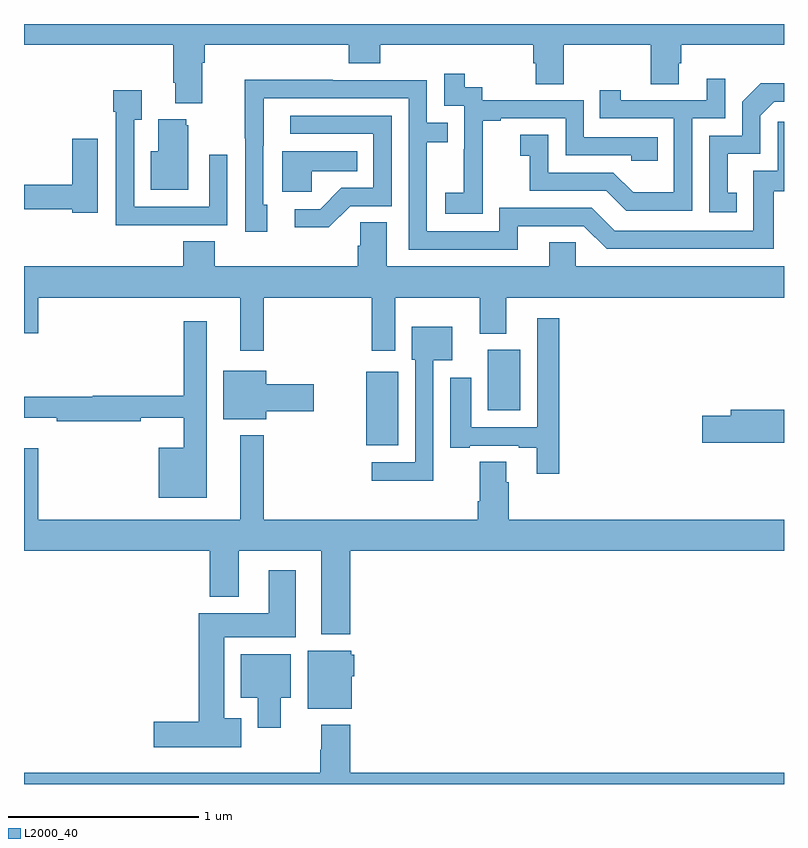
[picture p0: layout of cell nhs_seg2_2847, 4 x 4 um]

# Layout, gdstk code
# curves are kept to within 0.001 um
import gdstk
lib = gdstk.Library(unit=1e-6, precision=1e-09)
def R(c, l, rs):  # rectangles x0, y0, x1, y1
    for r in rs: c.add(gdstk.rectangle(r[:2], r[2:], *l))
def P(c, l, *ps):  # polygons
    for p in ps: c.add(gdstk.Polygon(p, *l))
L2000_40 = (2000, 40)

nhs_seg2_2847 = lib.new_cell('nhs_seg2_2847')
R(nhs_seg2_2847, L2000_40, [(262.802,589.583,262.969,589.969), (263.441,589.766,263.611,590.086)])
P(nhs_seg2_2847, L2000_40, [(261.937,591.596),(261.95,591.596),(261.95,591.692),(262.709,591.692),(262.709,591.593),(262.874,591.593),(262.874,591.692),(263.681,591.692),(263.681,591.594),(263.693,591.594),(263.693,591.484),(263.841,591.484),(263.841,591.692),(264.298,591.692),(264.298,591.484),(264.445,591.484),(264.445,591.594),(264.458,591.594),(264.458,591.692),(265,591.692),(265,591.8),(261,591.8),(261,591.692),(261.785,591.692),(261.785,591.49),(261.797,591.49),(261.797,591.383),(261.937,591.383)],
  [(263.415,591.007),(263.414,591.007),(263.414,591.291),(263.509,591.291),(263.509,591.303),(263.85,591.303),(263.85,591.108),(264.195,591.108),(264.195,591.081),(264.335,591.081),(264.335,591.204),(263.946,591.204),(263.946,591.399),(263.412,591.399),(263.412,591.468),(263.32,591.468),(263.32,591.538),(263.211,591.538),(263.211,591.369),(263.316,591.369),(263.316,591.14),(263.315,591.14),(263.315,590.911),(263.217,590.911),(263.217,590.801),(263.415,590.801)],
  [(264.516,591.303),(264.69,591.303),(264.69,591.511),(264.593,591.511),(264.593,591.399),(264.142,591.399),(264.142,591.451),(264.031,591.451),(264.031,591.303),(264.42,591.303),(264.42,590.914),(264.206,590.914),(264.102,591.018),(263.76,591.018),(263.76,591.217),(263.613,591.217),(263.613,591.107),(263.662,591.107),(263.662,590.922),(264.065,590.922),(264.17,590.817),(264.516,590.817)],
  [(263.599,590.736),(263.946,590.736),(264.066,590.616),(264.946,590.616),(264.946,590.919),(265,590.919),(265,591.286),(264.966,591.286),(264.966,591.027),(264.837,591.027),(264.837,590.712),(264.108,590.712),(263.988,590.832),(263.502,590.832),(263.502,590.709),(263.121,590.709),(263.121,591.178),(263.231,591.178),(263.231,591.279),(263.121,591.279),(263.121,591.504),(262.625,591.504),(262.625,591.506),(262.162,591.506),(262.162,591.199),(262.164,591.199),(262.164,590.706),(262.279,590.706),(262.279,590.85),(262.26,590.85),(262.261,591.408),(263.025,591.408),(263.025,590.613),(263.599,590.613)],
  [(264.752,590.913),(264.703,590.913),(264.703,591.117),(264.876,591.117),(264.876,591.318),(264.948,591.39),(265,591.39),(265,591.488),(264.878,591.488),(264.78,591.39),(264.78,591.213),(264.606,591.213),(264.606,590.808),(264.752,590.808)],
  [(261.755,590.742),(262.071,590.742),(262.071,591.112),(261.975,591.112),(261.975,590.838),(261.579,590.838),(261.579,591.295),(261.619,591.295),(261.619,591.451),(261.471,591.451),(261.471,591.338),(261.483,591.338),(261.483,590.741),(261.755,590.741)],
  [(262.716,590.841),(262.935,590.841),(262.935,591.318),(262.401,591.318),(262.401,591.222),(262.839,591.222),(262.839,590.937),(262.67,590.937),(262.559,590.826),(262.425,590.826),(262.425,590.729),(262.603,590.729)],
  [(261.865,591.267),(261.854,591.267),(261.854,591.298),(261.707,591.298),(261.707,591.13),(261.668,591.13),(261.668,590.927),(261.865,590.927)],
  [(261.388,591.196),(261.254,591.196),(261.254,590.954),(261,590.954),(261,590.826),(261.254,590.826),(261.254,590.807),(261.388,590.807)],
  [(262.515,591.026),(262.754,591.026),(262.754,591.13),(262.358,591.13),(262.358,590.918),(262.515,590.918)],
  [(262.261,590.36),(262.829,590.36),(262.829,590.079),(262.954,590.079),(262.954,590.36),(263.399,590.36),(263.399,590.171),(263.539,590.171),(263.539,590.36),(265,590.36),(265,590.524),(263.904,590.524),(263.904,590.651),(263.765,590.651),(263.765,590.524),(262.909,590.524),(262.909,590.756),(262.77,590.756),(262.77,590.633),(262.757,590.633),(262.757,590.524),(262.004,590.524),(262.004,590.657),(261.839,590.657),(261.839,590.524),(261,590.524),(261,590.172),(261.076,590.172),(261.076,590.36),(262.139,590.36),(262.139,590.079),(262.261,590.079)],
  [(263.816,590.251),(263.7,590.251),(263.7,589.677),(263.353,589.677),(263.353,589.939),(263.243,589.939),(263.243,589.569),(263.347,589.569),(263.347,589.581),(263.603,589.581),(263.603,589.569),(263.699,589.569),(263.699,589.434),(263.816,589.434)],
  [(261.961,590.236),(261.84,590.236),(261.84,589.844),(261.361,589.844),(261.361,589.837),(261,589.837),(261,589.727),(261.172,589.727),(261.172,589.708),(261.614,589.708),(261.614,589.727),(261.84,589.727),(261.84,589.57),(261.71,589.57),(261.71,589.307),(261.961,589.307)],
  [(263.154,590.03),(263.254,590.03),(263.254,590.206),(263.042,590.206),(263.042,590.034),(263.058,590.034),(263.058,589.494),(262.83,589.494),(262.83,589.397),(263.154,589.397)],
  [(262.276,589.763),(262.525,589.763),(262.525,589.905),(262.276,589.905),(262.276,589.975),(262.049,589.975),(262.049,589.721),(262.276,589.721)],
  [(265,589.769),(264.719,589.769),(264.719,589.739),(264.57,589.739),(264.57,589.597),(265,589.597)],
  [(262.718,589.028),(265,589.028),(265,589.192),(263.552,589.192),(263.552,589.388),(263.539,589.388),(263.539,589.496),(263.399,589.496),(263.399,589.288),(263.387,589.288),(263.387,589.192),(262.261,589.192),(262.261,589.636),(262.139,589.636),(262.139,589.192),(261.076,589.192),(261.076,589.567),(261,589.567),(261,589.028),(261.977,589.028),(261.977,588.785),(262.129,588.785),(262.129,589.028),(262.565,589.028),(262.565,588.587),(262.718,588.587)],
  [(262.144,588.145),(262.054,588.145),(262.054,588.572),(262.429,588.572),(262.429,588.925),(262.289,588.925),(262.289,588.7),(261.92,588.7),(261.92,588.128),(261.684,588.128),(261.684,587.993),(262.144,587.993)],
  [(262.726,588.366),(262.738,588.366),(262.738,588.48),(262.722,588.48),(262.722,588.502),(262.493,588.502),(262.493,588.197),(262.726,588.197)],
  [(262.351,588.254),(262.405,588.254),(262.405,588.484),(262.142,588.484),(262.142,588.254),(262.229,588.254),(262.229,588.096),(262.351,588.096)],
  [(265,587.86),(262.718,587.86),(262.718,588.112),(262.565,588.112),(262.565,587.981),(262.558,587.981),(262.558,587.86),(261,587.86),(261,587.8),(265,587.8)])

lib.write_gds('nhs_seg2_2847.gds')
